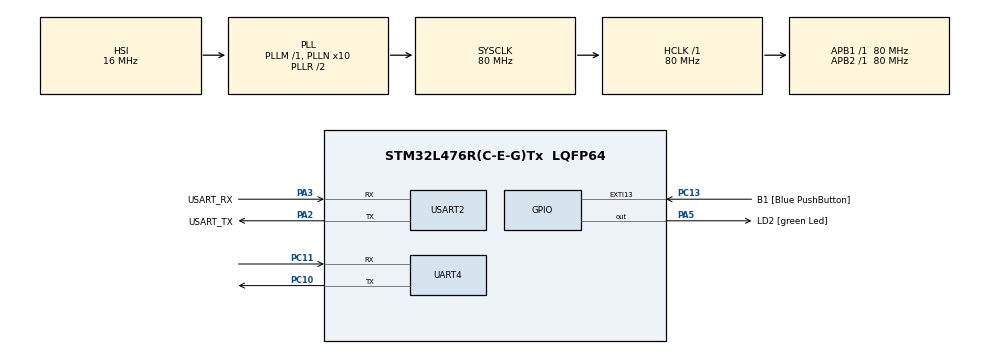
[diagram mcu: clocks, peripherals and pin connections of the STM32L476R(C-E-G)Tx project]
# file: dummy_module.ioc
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Mcu.Family=STM32L4
Mcu.Name=STM32L476R(C-E-G)Tx
Mcu.Package=LQFP64
NVIC.PriorityGroup=NVIC_PRIORITYGROUP_4
NVIC.RTC_Alarm_IRQn=true\:0\:0\:false\:false\:true\:true\:true\:true
PA13\ (JTMS-SWDIO).GPIO_Label=TMS
PA13\ (JTMS-SWDIO).Mode=Serial_Wire
PA13\ (JTMS-SWDIO).Signal=SYS_JTMS-SWDIO
PA14\ (JTCK-SWCLK).GPIO_Label=TCK
PA14\ (JTCK-SWCLK).Mode=Serial_Wire
PA14\ (JTCK-SWCLK).Signal=SYS_JTCK-SWCLK
PA2.GPIO_Label=USART_TX
PA2.GPIO_Mode=GPIO_MODE_AF_PP
PA2.GPIO_PuPd=GPIO_NOPULL
PA2.GPIO_Speed=GPIO_SPEED_FREQ_VERY_HIGH
PA2.Mode=Asynchronous
PA2.Signal=USART2_TX
PA3.GPIO_Label=USART_RX
PA3.GPIO_Mode=GPIO_MODE_AF_PP
PA3.GPIO_PuPd=GPIO_NOPULL
PA3.GPIO_Speed=GPIO_SPEED_FREQ_VERY_HIGH
PA3.Mode=Asynchronous
PA3.Signal=USART2_RX
PA5.GPIO_Label=LD2 [green Led]
PA5.GPIO_ModeDefaultOutputPP=GPIO_MODE_OUTPUT_PP
PA5.GPIO_PuPd=GPIO_NOPULL
PA5.GPIO_Speed=GPIO_SPEED_FREQ_LOW
PA5.Signal=GPIO_Output
PB3\ (JTDO-TRACESWO).GPIO_Label=SWO
PB3\ (JTDO-TRACESWO).Signal=SYS_JTDO-SWO
PC10.Mode=Asynchronous
PC10.Signal=UART4_TX
PC11.Mode=Asynchronous
PC11.Signal=UART4_RX
PC13.GPIO_Label=B1 [Blue PushButton]
PC13.GPIO_ModeDefaultEXTI=GPIO_MODE_IT_FALLING
PC13.GPIO_PuPd=GPIO_NOPULL
PC13.Signal=GPXTI13
PC14-OSC32_IN\ (PC14).Mode=LSE-External-Oscillator
PC14-OSC32_IN\ (PC14).Signal=RCC_OSC32_IN
PC15-OSC32_OUT\ (PC15).Mode=LSE-External-Oscillator
PC15-OSC32_OUT\ (PC15).Signal=RCC_OSC32_OUT
PH0-OSC_IN\ (PH0).Signal=RCC_OSC_IN
PH1-OSC_OUT\ (PH1).Signal=RCC_OSC_OUT
ProjectManager.HeapSize=0x200
ProjectManager.StackSize=0x400
ProjectManager.TargetToolchain=STM32CubeIDE
RCC.ADCFreq_Value=64000000
RCC.AHBFreq_Value=80000000
RCC.APB1Freq_Value=80000000
RCC.APB1TimFreq_Value=80000000
RCC.APB2Freq_Value=80000000
RCC.APB2TimFreq_Value=80000000
RCC.CortexFreq_Value=80000000
RCC.HCLKFreq_Value=80000000
RCC.HSE_VALUE=8000000
RCC.HSI_VALUE=16000000
RCC.MSI_VALUE=4000000
RCC.PLLN=10
RCC.PLLSourceVirtual=RCC_PLLSOURCE_HSI
RCC.PREFETCH_ENABLE=1
RCC.SYSCLKFreq_VALUE=80000000
RCC.SYSCLKSource=RCC_SYSCLKSOURCE_PLLCLK
RCC.USBFreq_Value=64000000
RCC.VCOOutputFreq_Value=160000000
RTC.Alarm-Alarm\ A=RTC_ALARM_A
RTC.Minutes_A-Alarm\ A=1
USART2.VirtualMode-Asynchronous=VM_ASYNC
VP_RTC_VS_RTC_Activate.Mode=RTC_Enabled
VP_RTC_VS_RTC_Alarm_A_Intern.Mode=Alarm A
VP_RTC_VS_RTC_Calendar.Mode=RTC_Calendar
board=NUCLEO-L476RG

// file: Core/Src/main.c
/* USER CODE BEGIN Header */
/**
  ******************************************************************************
  * @file           : main.c
  * @brief          : Main program body
  ******************************************************************************
  * @attention
  *
  * Copyright (c) 2026 STMicroelectronics.
  * All rights reserved.
  *
  * This software is licensed under terms that can be found in the LICENSE file
  * in the root directory of this software component.
  * If no LICENSE file comes with this software, it is provided AS-IS.
  *
  ******************************************************************************
  */
/* USER CODE END Header */
#include "main.h"

/* USER CODE BEGIN Includes */
#include "stdlib.h"
#include "string.h"
/* USER CODE END Includes */

RTC_HandleTypeDef hrtc;

UART_HandleTypeDef huart4;
UART_HandleTypeDef huart2;

void SystemClock_Config(void);
static void MX_GPIO_Init(void);
static void MX_USART2_UART_Init(void);
static void MX_UART4_Init(void);
static void MX_RTC_Init(void);

/* USER CODE BEGIN 0 */
static uint16_t f32_to_f16(float f)
{
    uint32_t x;
    memcpy(&x, &f, sizeof(x));

    uint16_t sign = (x >> 16) & 0x8000;
    int32_t exp = ((x >> 23) & 0xFF) - 127 + 15;
    uint32_t mant = x & 0x007FFFFF;

    if (exp <= 0)
    {
        /* Flush to signed zero (subnormals not worth the cost on MCU) */
        return sign;
    }
    else if (exp >= 31)
    {
        /* Overflow -> infinity */
        return sign | 0x7C00;
    }
    return sign | ((uint16_t)exp << 10) | (uint16_t)(mant >> 13);
}

struct msgPayload
{
    uint8_t moduleID;
    uint8_t row;
    uint16_t hr;
    uint16_t min;
    uint16_t sec;
    uint16_t gas;
    float temp;
    float hum;
    float volt;
    uint16_t pixels[96];
} __packed;

/* USER CODE END 0 */

int main(void)
{

  /* MCU Configuration--------------------------------------------------------*/

  /* Reset of all peripherals, Initializes the Flash interface and the Systick. */
  HAL_Init();

  /* Configure the system clock */
  SystemClock_Config();

  /* Initialize all configured peripherals */
  MX_GPIO_Init();
  MX_USART2_UART_Init();
  MX_UART4_Init();
  MX_RTC_Init();

  /* Infinite loop */
  /* USER CODE BEGIN WHILE */
  while (1)
  {

	  struct msgPayload payload = { 0 };
	  payload.moduleID = 0x03; // ID of 3
		payload.temp = f32_to_f16(23.3);
		payload.hum = f32_to_f16(62.5);
		payload.gas = 522;

	  char msg[] = "Starting to transmit readings\n";
	  HAL_UART_Transmit(&huart2, msg, sizeof(msg), 10000);

	  HAL_GPIO_TogglePin(GPIOA, GPIO_PIN_5); // Toggle the GPIO pin state
	  for (int i = 0; i < 3; i++) {
		  payload.moduleID = (payload.moduleID & 0x0F) | (i << 4);
		  for (int j = 0; j < 8; j++) {
			  payload.row = j;
			  HAL_StatusTypeDef uartstatus = HAL_UART_Transmit(&huart4, (uint8_t *)&payload, sizeof(payload), 10000);
			  if (uartstatus != HAL_OK)
			  {
				  char loraerrorbuf[] = "Error transmitting to lora module!\n";
				  HAL_UART_Transmit(&huart2, loraerrorbuf, sizeof(loraerrorbuf), 10000);
			  }
			  HAL_Delay(500);
		  }
	  }
	  HAL_GPIO_TogglePin(GPIOA, GPIO_PIN_5); // Toggle the GPIO pin state
	  HAL_Delay(100);

	  HAL_SuspendTick();
	  HAL_PWREx_EnterSTOP1Mode(PWR_SLEEPENTRY_WFI);
	  SystemClock_Config();
	  MX_RTC_Init();
	  HAL_ResumeTick();

    /* USER CODE END WHILE */

  }
}

void SystemClock_Config(void)
{
  RCC_OscInitTypeDef RCC_OscInitStruct = {0};
  RCC_ClkInitTypeDef RCC_ClkInitStruct = {0};

  /** Configure the main internal regulator output voltage
  */
  if (HAL_PWREx_ControlVoltageScaling(PWR_REGULATOR_VOLTAGE_SCALE1) != HAL_OK)
  {
    Error_Handler();
  }

  /** Initializes the RCC Oscillators according to the specified parameters
  * in the RCC_OscInitTypeDef structure.
  */
  RCC_OscInitStruct.OscillatorType = RCC_OSCILLATORTYPE_HSI|RCC_OSCILLATORTYPE_LSI;
  RCC_OscInitStruct.HSIState = RCC_HSI_ON;
  RCC_OscInitStruct.HSICalibrationValue = RCC_HSICALIBRATION_DEFAULT;
  RCC_OscInitStruct.LSIState = RCC_LSI_ON;
  RCC_OscInitStruct.PLL.PLLState = RCC_PLL_ON;
  RCC_OscInitStruct.PLL.PLLSource = RCC_PLLSOURCE_HSI;
  RCC_OscInitStruct.PLL.PLLM = 1;
  RCC_OscInitStruct.PLL.PLLN = 10;
  RCC_OscInitStruct.PLL.PLLP = RCC_PLLP_DIV7;
  RCC_OscInitStruct.PLL.PLLQ = RCC_PLLQ_DIV2;
  RCC_OscInitStruct.PLL.PLLR = RCC_PLLR_DIV2;
  if (HAL_RCC_OscConfig(&RCC_OscInitStruct) != HAL_OK)
  {
    Error_Handler();
  }

  /** Initializes the CPU, AHB and APB buses clocks
  */
  RCC_ClkInitStruct.ClockType = RCC_CLOCKTYPE_HCLK|RCC_CLOCKTYPE_SYSCLK
                              |RCC_CLOCKTYPE_PCLK1|RCC_CLOCKTYPE_PCLK2;
  RCC_ClkInitStruct.SYSCLKSource = RCC_SYSCLKSOURCE_PLLCLK;
  RCC_ClkInitStruct.AHBCLKDivider = RCC_SYSCLK_DIV1;
  RCC_ClkInitStruct.APB1CLKDivider = RCC_HCLK_DIV1;
  RCC_ClkInitStruct.APB2CLKDivider = RCC_HCLK_DIV1;

  if (HAL_RCC_ClockConfig(&RCC_ClkInitStruct, FLASH_LATENCY_4) != HAL_OK)
  {
    Error_Handler();
  }
}

static void MX_RTC_Init(void)
{

  RTC_TimeTypeDef sTime = {0};
  RTC_DateTypeDef sDate = {0};
  RTC_AlarmTypeDef sAlarm = {0};

  /** Initialize RTC Only
  */
  hrtc.Instance = RTC;
  hrtc.Init.HourFormat = RTC_HOURFORMAT_24;
  hrtc.Init.AsynchPrediv = 127;
  hrtc.Init.SynchPrediv = 255;
  hrtc.Init.OutPut = RTC_OUTPUT_DISABLE;
  hrtc.Init.OutPutRemap = RTC_OUTPUT_REMAP_NONE;
  hrtc.Init.OutPutPolarity = RTC_OUTPUT_POLARITY_HIGH;
  hrtc.Init.OutPutType = RTC_OUTPUT_TYPE_OPENDRAIN;
  if (HAL_RTC_Init(&hrtc) != HAL_OK)
  {
    Error_Handler();
  }

  /** Initialize RTC and set the Time and Date
  */
  sTime.Hours = 0x0;
  sTime.Minutes = 0x0;
  sTime.Seconds = 0x0;
  sTime.DayLightSaving = RTC_DAYLIGHTSAVING_NONE;
  sTime.StoreOperation = RTC_STOREOPERATION_RESET;
  if (HAL_RTC_SetTime(&hrtc, &sTime, RTC_FORMAT_BCD) != HAL_OK)
  {
    Error_Handler();
  }
  sDate.WeekDay = RTC_WEEKDAY_MONDAY;
  sDate.Month = RTC_MONTH_JANUARY;
  sDate.Date = 0x1;
  sDate.Year = 0x0;

  if (HAL_RTC_SetDate(&hrtc, &sDate, RTC_FORMAT_BCD) != HAL_OK)
  {
    Error_Handler();
  }

  /** Enable the Alarm A
  */
  sAlarm.AlarmTime.Hours = 0x0;
  sAlarm.AlarmTime.Minutes = 0x1;
  sAlarm.AlarmTime.Seconds = 0x0;
  sAlarm.AlarmTime.SubSeconds = 0x0;
  sAlarm.AlarmTime.DayLightSaving = RTC_DAYLIGHTSAVING_NONE;
  sAlarm.AlarmTime.StoreOperation = RTC_STOREOPERATION_RESET;
  sAlarm.AlarmMask = RTC_ALARMMASK_NONE;
  sAlarm.AlarmSubSecondMask = RTC_ALARMSUBSECONDMASK_ALL;
  sAlarm.AlarmDateWeekDaySel = RTC_ALARMDATEWEEKDAYSEL_DATE;
  sAlarm.AlarmDateWeekDay = 0x1;
  sAlarm.Alarm = RTC_ALARM_A;
  if (HAL_RTC_SetAlarm_IT(&hrtc, &sAlarm, RTC_FORMAT_BCD) != HAL_OK)
  {
    Error_Handler();
  }

}

static void MX_UART4_Init(void)
{

  huart4.Instance = UART4;
  huart4.Init.BaudRate = 115200;
  huart4.Init.WordLength = UART_WORDLENGTH_8B;
  huart4.Init.StopBits = UART_STOPBITS_1;
  huart4.Init.Parity = UART_PARITY_NONE;
  huart4.Init.Mode = UART_MODE_TX_RX;
  huart4.Init.HwFlowCtl = UART_HWCONTROL_NONE;
  huart4.Init.OverSampling = UART_OVERSAMPLING_16;
  huart4.Init.OneBitSampling = UART_ONE_BIT_SAMPLE_DISABLE;
  huart4.AdvancedInit.AdvFeatureInit = UART_ADVFEATURE_NO_INIT;
  if (HAL_UART_Init(&huart4) != HAL_OK)
  {
    Error_Handler();
  }

}

static void MX_USART2_UART_Init(void)
{

  huart2.Instance = USART2;
  huart2.Init.BaudRate = 115200;
  huart2.Init.WordLength = UART_WORDLENGTH_8B;
  huart2.Init.StopBits = UART_STOPBITS_1;
  huart2.Init.Parity = UART_PARITY_NONE;
  huart2.Init.Mode = UART_MODE_TX_RX;
  huart2.Init.HwFlowCtl = UART_HWCONTROL_NONE;
  huart2.Init.OverSampling = UART_OVERSAMPLING_16;
  huart2.Init.OneBitSampling = UART_ONE_BIT_SAMPLE_DISABLE;
  huart2.AdvancedInit.AdvFeatureInit = UART_ADVFEATURE_NO_INIT;
  if (HAL_UART_Init(&huart2) != HAL_OK)
  {
    Error_Handler();
  }

}

static void MX_GPIO_Init(void)
{
  GPIO_InitTypeDef GPIO_InitStruct = {0};

  /* GPIO Ports Clock Enable */
  __HAL_RCC_GPIOC_CLK_ENABLE();
  __HAL_RCC_GPIOH_CLK_ENABLE();
  __HAL_RCC_GPIOA_CLK_ENABLE();
  __HAL_RCC_GPIOB_CLK_ENABLE();

  /*Configure GPIO pin Output Level */
  HAL_GPIO_WritePin(LD2_GPIO_Port, LD2_Pin, GPIO_PIN_RESET);

  /*Configure GPIO pin : B1_Pin */
  GPIO_InitStruct.Pin = B1_Pin;
  GPIO_InitStruct.Mode = GPIO_MODE_IT_FALLING;
  GPIO_InitStruct.Pull = GPIO_NOPULL;
  HAL_GPIO_Init(B1_GPIO_Port, &GPIO_InitStruct);

  /*Configure GPIO pin : LD2_Pin */
  GPIO_InitStruct.Pin = LD2_Pin;
  GPIO_InitStruct.Mode = GPIO_MODE_OUTPUT_PP;
  GPIO_InitStruct.Pull = GPIO_NOPULL;
  GPIO_InitStruct.Speed = GPIO_SPEED_FREQ_LOW;
  HAL_GPIO_Init(LD2_GPIO_Port, &GPIO_InitStruct);

}

void Error_Handler(void)
{
  __disable_irq();
  while (1)
  {
  }
}
